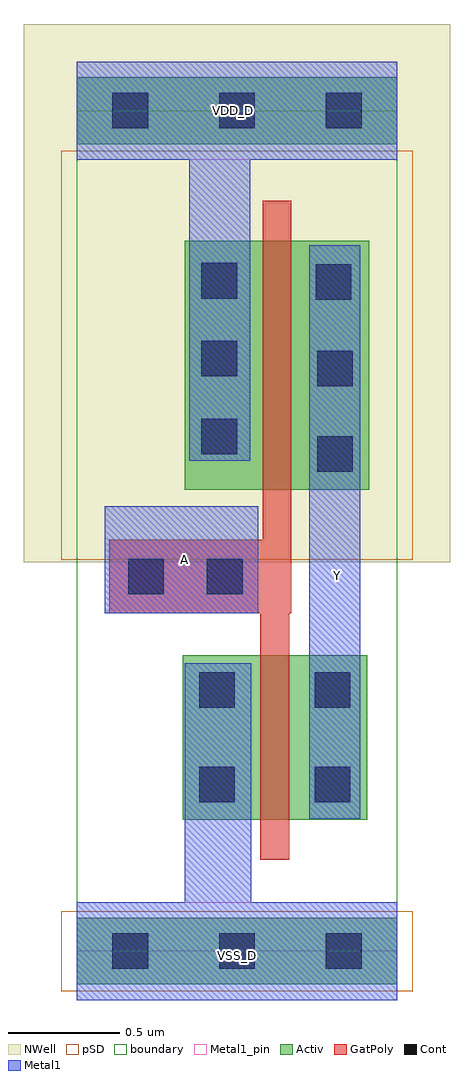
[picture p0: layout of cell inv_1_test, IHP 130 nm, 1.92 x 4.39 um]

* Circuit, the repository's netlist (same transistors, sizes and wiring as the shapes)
* Extracted by KLayout with SG13G2 LVS runset on : 22/06/2025 05:51

.SUBCKT inv_1_test VDD_D VSS_D A Y
M$1 VSS_D A Y VSS_D sg13_lv_nmos L=0.13u W=0.74u AS=0.259p AD=0.259p PS=2.18u
+ PD=2.18u
M$2 VDD_D A Y VDD_D sg13_lv_pmos L=0.13u W=1.12u AS=0.392p AD=0.392p PS=2.94u
+ PD=2.94u
.ENDS inv_1_test

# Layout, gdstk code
import gdstk
lib = gdstk.Library(unit=1e-6, precision=5e-09)
def R(c, l, rs):  # rectangles x0, y0, x1, y1
    for r in rs: c.add(gdstk.rectangle(r[:2], r[2:], *l))
def A(c, l, x, y, w, h, nx, ny, dx, dy):  # array of equal rectangles
    R(c, l, [(x+i*dx, y+j*dy, x+i*dx+w, y+j*dy+h) for i in range(nx) for j in range(ny)])
def P(c, l, *ps):  # polygons
    for p in ps: c.add(gdstk.Polygon(p, *l))
Activ = (1, 0)
GatPoly = (5, 0)
Cont = (6, 0)
Metal1 = (8, 0)
Metal1_pin = (8, 2)
pSD = (14, 0)
NWell = (31, 0)
boundary = (189, 4)

inv_1_test = lib.new_cell('inv_1_test')
R(inv_1_test, Activ, [(0,-0.15,1.44,0.15), (0.475,0.59,1.305,1.33), (0.485,2.075,1.315,3.195), (0,3.63,1.44,3.93)])
P(inv_1_test, GatPoly, [(0.825,0.41),(0.825,1.52),(0.145,1.52),(0.145,1.85),(0.835,1.85),(0.835,3.375),(0.965,3.375),(0.965,1.52),(0.955,1.52),(0.955,0.41)])
A(inv_1_test, Cont, 0.56, 2.235, 0.16, 0.16, 1, 3, 0, 0.35)
R(inv_1_test, Cont, [(0.16,-0.08,0.32,0.08), (0.16,-0.08,0.32,0.08), (0.64,-0.08,0.8,0.08), (0.64,-0.08,0.8,0.08), (1.12,-0.08,1.28,0.08), (1.12,-0.08,1.28,0.08), (0.55,0.67,0.71,0.83), (1.07,0.67,1.23,0.83), (0.55,1.095,0.71,1.255), (1.07,1.095,1.23,1.255), (0.23,1.605,0.39,1.765), (0.585,1.605,0.745,1.765), (1.08,2.155,1.24,2.315), (1.08,2.54,1.24,2.7), (1.075,2.93,1.235,3.09), (0.16,3.7,0.32,3.86), (0.16,3.7,0.32,3.86), (0.64,3.7,0.8,3.86), (0.64,3.7,0.8,3.86), (1.12,3.7,1.28,3.86), (1.12,3.7,1.28,3.86)])
R(inv_1_test, Metal1, [(1.045,0.595,1.275,3.175), (0.125,1.52,0.815,2)])
P(inv_1_test, Metal1, [(0.505,2.205),(0.505,3.56),(0,3.56),(0,4),(1.44,4),(1.44,3.56),(0.78,3.56),(0.78,2.205)],
  [(0,-0.22),(0,0.22),(0.485,0.22),(0.485,1.295),(0.785,1.295),(0.785,0.22),(1.44,0.22),(1.44,-0.22)])
R(inv_1_test, Metal1_pin, [(0,-0.22,1.44,0.22), (1.045,0.595,1.275,3.175), (0.125,1.52,0.815,2), (0,3.56,1.44,4)])
R(inv_1_test, pSD, [(-0.07,-0.18,1.51,0.18), (-0.07,1.76,1.51,3.6)])
R(inv_1_test, NWell, [(-0.24,1.75,1.68,4.17)])
R(inv_1_test, boundary, [(0,0,1.44,3.78)])
inv_1_test.add(gdstk.Label('VSS_D', (0.72,-0.02), layer=8, texttype=25))
inv_1_test.add(gdstk.Label('VDD_D', (0.705,3.78), layer=8, texttype=25))
inv_1_test.add(gdstk.Label('Y', (1.17,1.69), layer=8, texttype=25))
inv_1_test.add(gdstk.Label('A', (0.485,1.76), layer=8, texttype=25))

lib.write_gds('inv_1_test.gds')
